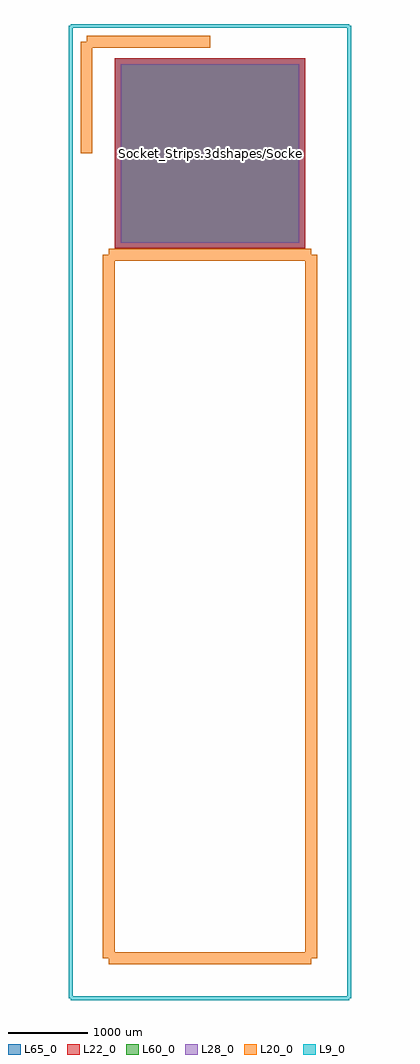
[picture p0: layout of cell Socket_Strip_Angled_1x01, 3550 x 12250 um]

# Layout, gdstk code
import gdstk
lib = gdstk.Library(unit=1e-6, precision=1e-09)
def R(c, l, rs):  # rectangles x0, y0, x1, y1
    for r in rs: c.add(gdstk.rectangle(r[:2], r[2:], *l))
L9_0 = (9, 0)
L20_0 = (20, 0)
L22_0 = (22, 0)
L28_0 = (28, 0)
L60_0 = (60, 0)
L65_0 = (65, 0)

socket_strip_angled_1x01 = lib.new_cell('Socket_Strip_Angled_1x01')
R(socket_strip_angled_1x01, L22_0, [(-1192.6,-1192.6,1192.6,1192.6)])
R(socket_strip_angled_1x01, L28_0, [(-1117.6,-1117.6,1117.6,1117.6)])
R(socket_strip_angled_1x01, L60_0, [(-1117.6,-1117.6,1117.6,1117.6)])
R(socket_strip_angled_1x01, L65_0, [(-1192.6,-1192.6,1192.6,1192.6)])
socket_strip_angled_1x01.add(gdstk.FlexPath([(-1270,-10100),(-1270,-1270)], 149.998, ends="flush", simple_path=True, layer=20, datatype=0))  # L20_0
socket_strip_angled_1x01.add(gdstk.FlexPath([(1270,-10100),(-1270,-10100)], 149.998, ends="flush", simple_path=True, layer=20, datatype=0))  # L20_0
socket_strip_angled_1x01.add(gdstk.FlexPath([(1270,-1270),(1270,-10100)], 149.998, ends="flush", simple_path=True, layer=20, datatype=0))  # L20_0
socket_strip_angled_1x01.add(gdstk.FlexPath([(1270,-1270),(-1270,-1270)], 149.998, ends="flush", simple_path=True, layer=20, datatype=0))  # L20_0
socket_strip_angled_1x01.add(gdstk.FlexPath([(-1750,-10600),(1750,-10600)], 50, ends="flush", simple_path=True, layer=9, datatype=0))  # L9_0
socket_strip_angled_1x01.add(gdstk.FlexPath([(-1750,1600),(1750,1600)], 50, ends="flush", simple_path=True, layer=9, datatype=0))  # L9_0
socket_strip_angled_1x01.add(gdstk.FlexPath([(1750,1600),(1750,-10600)], 50, ends="flush", simple_path=True, layer=9, datatype=0))  # L9_0
socket_strip_angled_1x01.add(gdstk.FlexPath([(-1750,1600),(-1750,-10600)], 50, ends="flush", simple_path=True, layer=9, datatype=0))  # L9_0
socket_strip_angled_1x01.add(gdstk.FlexPath([(-1550,1400),(-1550,0)], 149.998, ends="flush", simple_path=True, layer=20, datatype=0))  # L20_0
socket_strip_angled_1x01.add(gdstk.FlexPath([(0,1400),(-1550,1400)], 149.998, ends="flush", simple_path=True, layer=20, datatype=0))  # L20_0
socket_strip_angled_1x01.add(gdstk.Label('Socket_Strips.3dshapes/Socket_Strip_Angled_1x01.wrl', (0,0), layer=12, texttype=0))
socket_strip_angled_1x01.add(gdstk.Label('1', (0,0), layer=28, texttype=0))
socket_strip_angled_1x01.add(gdstk.Label('type', (0,2850), layer=9, texttype=0))
socket_strip_angled_1x01.add(gdstk.Label('devicename', (0,4850), layer=9, texttype=0))

lib.write_gds('Socket_Strip_Angled_1x01.gds')
